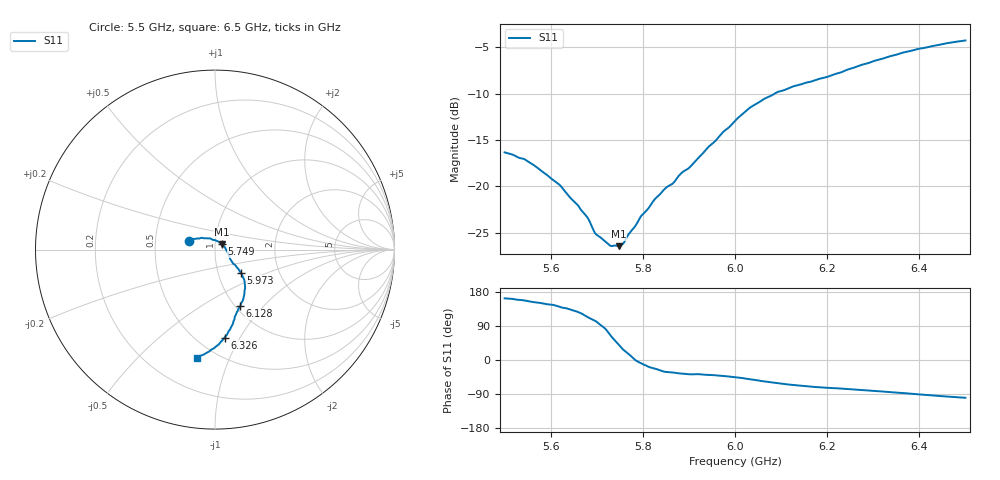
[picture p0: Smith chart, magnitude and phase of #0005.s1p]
#  HZ  S  DB  R  50.00
! Rohde & Schwarz ZVA24 4Ports - Version 3.60 - 1145.1110k28 SN: 101513
! Date: 2019-08-26 13:14:16
! Measurement: S33
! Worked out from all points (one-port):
!   801 points, 5.5 GHz to 6.5 GHz, reference 50 ohm
!   lowest |S11| = -26.4 dB at 5.747 GHz (marker M1), VSWR 1.10, Z = 53.7 + j3.33 ohm
!   |S11| at or under -10 dB: start of sweep to 6.086 GHz
!   S11 on the Smith chart (normalised r, x): 5.5 GHz: 0.74, +0.07; 5.749 GHz: 1.08, +0.06; 5.973 GHz: 1.28, -0.35; 6.128 GHz: 1.05, -0.75; 6.326 GHz: 0.67, -0.86; 6.5 GHz: 0.40, -0.76
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5.5e9  -16.34 162.7
5.54625e9  -17.16 156.4
5.59e9  -18.69 147.6
5.625e9  -20.15 138.3
5.6775e9  -23.19 115.1
5.7e9  -25.22 100.5
5.72875e9  -26.37 66.4
5.7475e9  -26.43 40.5
5.74875e9  -26.43 38.7
5.75e9  -26.43 37.0
5.7575e9  -26.14 27.2
5.79625e9  -23.19 -8.7
5.825e9  -21.44 -22.3
5.84875e9  -20.21 -31.3
5.86625e9  -19.62 -33.0
5.875e9  -19.04 -34.7
5.90375e9  -17.83 -37.8
5.9725e9  -14.23 -42.0
6e9  -12.95 -45.2
6.03e9  -11.61 -50.4
6.06125e9  -10.64 -56.0
6.125e9  -9.25 -65.8
6.1275e9  -9.22 -66.1
6.25e9  -7.34 -76.9
6.32625e9  -6.15 -83.8
6.375e9  -5.48 -88.2
6.45375e9  -4.63 -95.9
6.5e9  -4.29 -99.7
